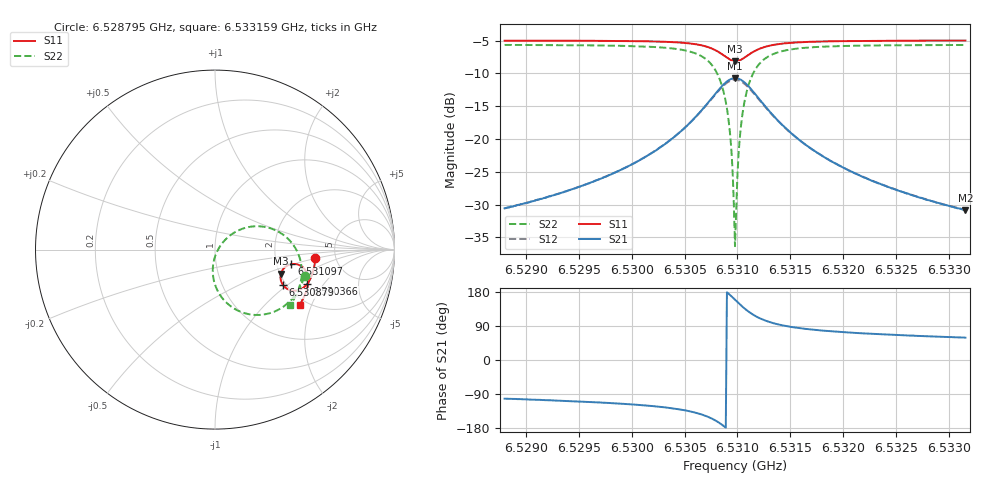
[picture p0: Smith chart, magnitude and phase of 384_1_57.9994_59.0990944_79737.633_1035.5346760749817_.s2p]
#  HZ  S  RI  R  50.00
! Rohde & Schwarz Vector Network Analyzer
! Rohde-Schwarz,ZNB20-2Port,1311601062101988,3.16
! Created: UTC 3/21/2024, 1:07:27 AM
! freq[Hz]  re:S11  im:S11  re:S21  im:S21  re:S12  im:S12  re:S22  im:S22
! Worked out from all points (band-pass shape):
!   401 points, 6.528795 GHz to 6.533159 GHz, reference 50 ohm
!   highest |S21| = -10.72 dB at 6.530977 GHz (marker M1); lowest = -30.9 dB at 6.533159 GHz (marker M2)
!   |S21| within 3 dB of the highest: 6.53076 GHz to 6.531197 GHz (436.7 kHz wide, 0.00669 % of centre)
!   lowest |S11| = -8.2 dB at 6.530977 GHz (marker M3), VSWR 2.28, Z = 101 - j32 ohm
!   |S11| at or under -10 dB: nowhere
!   |S22| runs from -36.3 to -5.7 dB; largest |S21 - S12| = 0.011
!   S11 on the Smith chart (normalised r, x): 6.528795 GHz: 3.49, -0.48; 6.530366 GHz: 2.57, -1.40; 6.530879 GHz: 1.92, -0.94; 6.531097 GHz: 2.41, -0.48; 6.533159 GHz: 1.82, -1.65
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6.5287947e9  0.5593 -0.047  -0.00619 -0.029  -0.00656 -0.0289  0.4987 -0.1499
6.5295257e9  0.55 -0.1069  -0.015 -0.0413  -0.0158 -0.041  0.47 -0.2165
6.5302566e9  0.5229 -0.1778  -0.0467 -0.071  -0.0486 -0.0698  0.3928 -0.3092
6.5303657e9  0.5141 -0.1906  -0.059 -0.0787  -0.0611 -0.077  0.3667 -0.3273
6.5305621e9  0.4879 -0.2148  -0.0981 -0.0939  -0.1009 -0.0906  0.2891 -0.3585
6.5307149e9  0.4483 -0.2288  -0.1601 -0.0952  -0.1622 -0.0887  0.1754 -0.3568
6.530813e9  0.408 -0.2218  -0.2226 -0.0672  -0.2216 -0.0583  0.07 -0.3012
6.5308785e9  0.3795 -0.1986  -0.2643 -0.0177  -0.2595 -0.00857  0.00611 -0.2115
6.5309221e9  0.3671 -0.1727  -0.2801 0.0324  -0.2723 0.0398  -0.0123 -0.1256
6.5309331e9  0.3655 -0.1651  -0.2814 0.0463  -0.2729 0.0533  -0.0122 -0.1022
6.5309658e9  0.3657 -0.1414  -0.2764 0.0898  -0.2668 0.0943  0.00256 -0.0315
6.5309767e9  0.3675 -0.1335  -0.2719 0.1042  -0.2621 0.1076  0.0123 -0.00905
6.5309876e9  0.3703 -0.1259  -0.266 0.1177  -0.2562 0.1203  0.024 0.0126
6.5309985e9  0.3737 -0.1186  -0.2589 0.1306  -0.2491 0.1323  0.0378 0.0328
6.5310203e9  0.3826 -0.1056  -0.2411 0.1537  -0.2317 0.1539  0.0707 0.068
6.5310422e9  0.3938 -0.095  -0.2201 0.1723  -0.2117 0.1713  0.1082 0.0954
6.5310967e9  0.4255 -0.0811  -0.1625 0.1979  -0.1568 0.1951  0.2077 0.1288
6.5311731e9  0.4646 -0.0842  -0.0939 0.1963  -0.0909 0.1935  0.3233 0.1136
6.5312822e9  0.4976 -0.107  -0.0358 0.1661  -0.0345 0.1647  0.4176 0.0492
6.5317077e9  0.5195 -0.1829  0.0143 0.082  0.0153 0.0818  0.4833 -0.1289
6.5324386e9  0.4995 -0.2554  0.0167 0.0393  0.0174 0.039  0.4556 -0.2448
6.5331587e9  0.4715 -0.3082  0.0148 0.0245  0.0152 0.0244  0.4204 -0.3066
